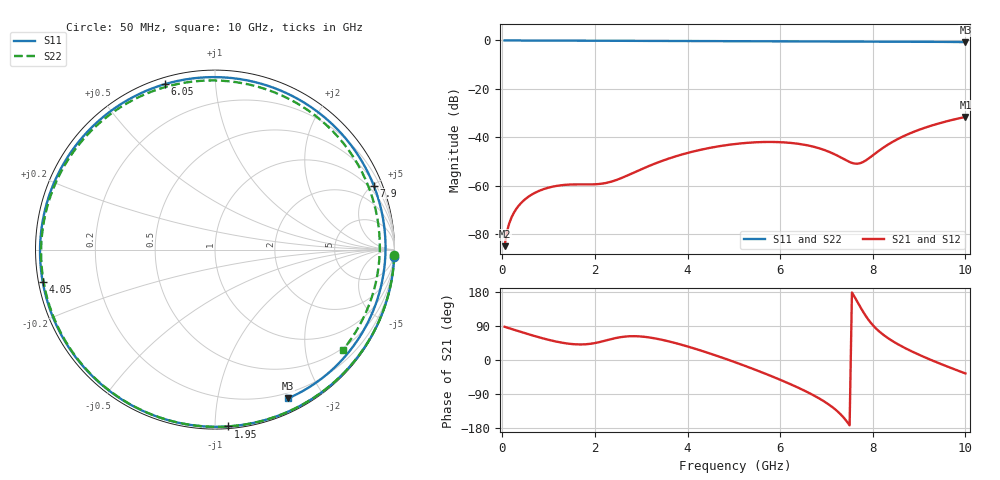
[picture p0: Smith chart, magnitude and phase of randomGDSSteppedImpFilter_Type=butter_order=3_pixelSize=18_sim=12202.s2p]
! freq	dB(S11)	phase(S11)	dB(S12)	phase(S12)
!  dB(S21)	phase(S21)	dB(S22)	phase(S22)
!S-par simulation data
#  GHz  S  DB  R 50
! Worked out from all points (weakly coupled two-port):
!   200 points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, 50 MHz to 10 GHz, reference 50 ohm
!   highest |S21| = -31.58 dB at 10 GHz (marker M1); lowest = -85.0 dB at 50 MHz (marker M2)
!   lowest |S11| = -0.7 dB at 10 GHz (marker M3), VSWR 25.07, Z = 7.12 - j80 ohm
!   |S11| at or under -10 dB: nowhere
!   |S22| runs from -0.9 to 0.0 dB; largest |S21 - S12| = 0
!   S11 on the Smith chart (normalised r, x): 50 MHz: 1, -49; 1.95 GHz: 0.01, -1.08; 4.05 GHz: 0.01, -0.09; 6.05 GHz: 0.03, +0.74; 7.9 GHz: 0.64, +5.08; 10 GHz: 0.14, -1.60
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0.05  -0.00 -2.3  -84.99 87.7  -84.99 87.7  -0.00 -1.8
0.1  -0.01 -4.6  -79.02 85.7  -79.02 85.7  -0.01 -3.6
0.2  -0.01 -9.2  -73.08 81.9  -73.08 81.9  -0.01 -7.1
0.3  -0.02 -13.7  -69.65 78.0  -69.65 78.0  -0.01 -10.7
0.6  -0.03 -27.3  -64.10 66.7  -64.10 66.7  -0.02 -21.2
1.1  -0.06 -49.5  -60.35 50.3  -60.35 50.3  -0.05 -38.6
1.75  -0.10 -77.4  -59.48 41.2  -59.48 41.2  -0.08 -60.6
1.95  -0.10 -85.8  -59.47 43.6  -59.47 43.6  -0.08 -67.3
2.65  -0.14 -114.2  -56.22 61.8  -56.22 61.8  -0.11 -90.0
3.4  -0.17 -143.9  -50.11 54.6  -50.11 54.6  -0.14 -113.6
4.05  -0.21 -169.4  -46.23 33.9  -46.23 33.9  -0.18 -133.9
4.55  -0.24 170.6  -44.14 14.5  -44.14 14.5  -0.21 -149.6
5.05  -0.27 150.1  -42.73 -6.9  -42.73 -6.9  -0.24 -165.7
6.05  -0.33 106.8  -42.07 -54.7  -42.07 -54.7  -0.33 159.5
6.7  -0.36 77.1  -43.80 -91.8  -43.80 -91.8  -0.40 133.9
7.6  -0.40 35.5  -50.83 168.0  -50.83 168.0  -0.51 92.8
7.9  -0.41 21.9  -48.91 107.3  -48.91 107.3  -0.55 77.5
8.35  -0.44 2.1  -42.78 55.9  -42.78 55.9  -0.61 53.3
8.75  -0.48 -14.8  -38.81 28.2  -38.81 28.2  -0.66 30.8
9.15  -0.52 -31.1  -35.90 5.7  -35.90 5.7  -0.72 8.2
9.55  -0.59 -46.7  -33.64 -14.4  -33.64 -14.4  -0.78 -14.2
10  -0.69 -63.7  -31.58 -35.4  -31.58 -35.4  -0.86 -38.2
